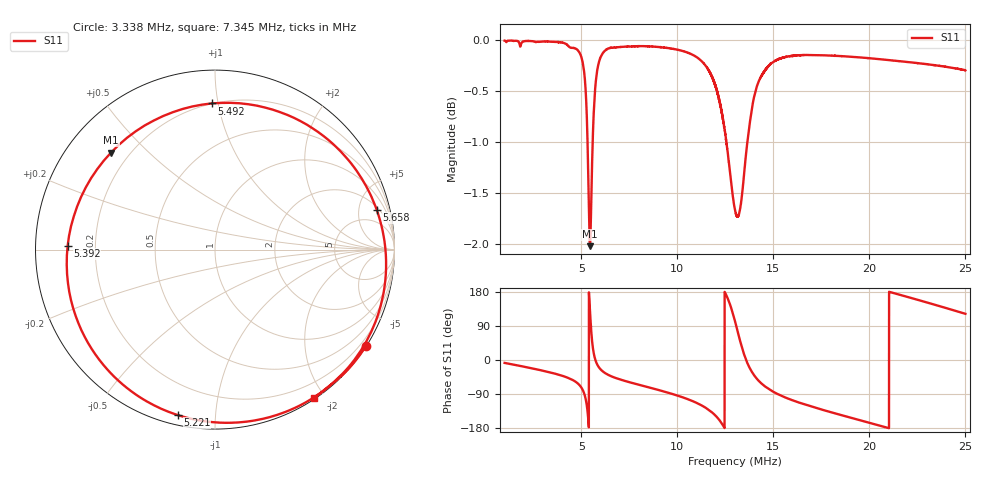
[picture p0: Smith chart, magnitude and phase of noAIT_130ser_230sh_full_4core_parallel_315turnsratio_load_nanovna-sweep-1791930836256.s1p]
! NanoVNA Web complex sweep
! Processing: unaveraged complex samples; linear segment spacing; no smoothing
# Hz S RI R 50
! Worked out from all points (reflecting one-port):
!   5050 points, 1 MHz to 25 MHz, reference 50 ohm
!   lowest |S11| = -2.0 dB at 5.439 MHz (marker M1), VSWR 8.62, Z = 6.68 + j19.4 ohm
!   phase of S11 starts at -8 deg and turns -950 deg over the sweep
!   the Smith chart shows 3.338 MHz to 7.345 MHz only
!   S11 on the Smith chart (normalised r, x): 3.338 MHz: 0.01, -3.45; 5.221 MHz: 0.05, -0.80; 5.392 MHz: 0.10, +0.01; 5.492 MHz: 0.20, +0.96; 5.658 MHz: 2.37, +7.54; 7.345 MHz: 0.02, -1.87
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1000000  0.9905 -0.1335
3338476  0.8432 -0.5344
4003896  0.7452 -0.6626
4854683  0.4348 -0.8866
5220664  -0.2082 -0.9217
5320477  -0.6455 -0.6128
5391772  -0.821 0.0213
5439302  -0.5791 0.5406
5491585  -0.0182 0.8145
5558127  0.5735 0.6559
5657940  0.9012 0.2212
5824295  0.9454 -0.2008
6052439  0.8727 -0.453
7003039  0.6223 -0.773
7345255  0.5496 -0.8268
1.000218e7  -0.0674 -0.9871
1.151839e7  -0.5925 -0.7682
1.237868e7  -0.9071 -0.1128
1.270664e7  -0.7588 0.4174
1.300132e7  -0.1701 0.8072
1.334354e7  0.6778 0.4908
1.363823e7  0.8824 -0.1185
1.39947e7  0.7154 -0.6066
1.442722e7  0.4181 -0.867
1.600047e7  -0.2766 -0.9421
1.899961e7  -0.8658 -0.4624
2.199875e7  -0.9473 0.2331
2.49979e7  -0.5108 0.8205
